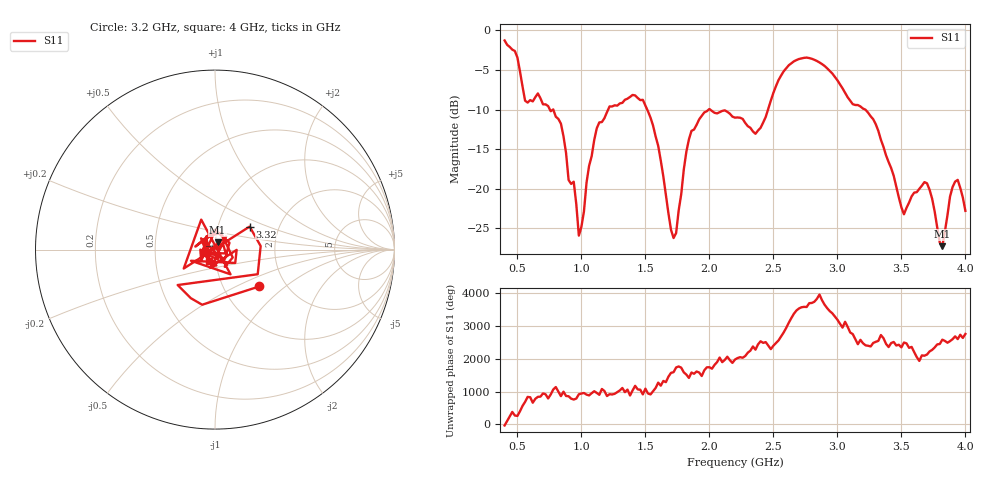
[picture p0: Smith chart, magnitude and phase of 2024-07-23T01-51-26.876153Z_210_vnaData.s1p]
!Created with skrf (http://scikit-rf.org).
# Hz S RI R 50.0
!freq ReS11 ImS11
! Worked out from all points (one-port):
!   181 points, 400 MHz to 4 GHz, reference 50 ohm
!   lowest |S11| = -27.3 dB at 3.82 GHz (marker M1), VSWR 1.09, Z = 51.3 + j4.19 ohm
!   |S11| at or under -10 dB: 1.514 GHz to 1.995 GHz (480.6 MHz wide, 27.4 % of centre); 2.006 GHz to 2.458 GHz (451.6 MHz wide, 20.2 % of centre); 3.217 GHz to end of sweep (the widest 3 of 5)
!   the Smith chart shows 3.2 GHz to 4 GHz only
!   S11 on the Smith chart (normalised r, x): 3.2 GHz: 1.47, -0.67; 3.32 GHz: 1.42, +0.38; 4 GHz: 0.93, -0.12
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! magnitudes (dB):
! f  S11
! 400 MHz  -1.3
! 500 MHz  -3.4
! 560 MHz  -8.9
! 660 MHz  -8.0
! 860 MHz  -13.4
! 900 MHz  -18.9
! 940 MHz  -19.1
! 980 MHz  -25.9
! 1.12 GHz  -12.4
! 1.3 GHz  -9.2
! 1.48 GHz  -8.8
! 1.6 GHz  -14.6
! 1.72 GHz  -26.2
! 1.76 GHz  -22.7
! 1.86 GHz  -12.7
! 2.2 GHz  -11.0
! 2.36 GHz  -13.1
! 2.66 GHz  -3.9
! 2.88 GHz  -4.3
! 3.1 GHz  -8.9
! 3.2 GHz  -9.9
! 3.32 GHz  -12.7
! 3.52 GHz  -23.2
! 3.56 GHz  -21.7
! 3.7 GHz  -19.3
! 3.82 GHz  -27.3
! 3.92 GHz  -19.1
! 4 GHz  -22.8
